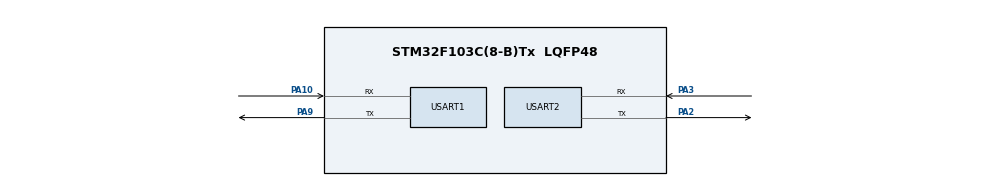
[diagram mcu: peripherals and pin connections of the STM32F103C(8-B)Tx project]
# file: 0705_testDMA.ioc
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Dma.Request0=USART1_RX
Dma.Request1=USART1_TX
Dma.USART1_RX.0.Direction=DMA_PERIPH_TO_MEMORY
Dma.USART1_RX.0.Instance=DMA1_Channel5
Dma.USART1_RX.0.MemDataAlignment=DMA_MDATAALIGN_BYTE
Dma.USART1_RX.0.MemInc=DMA_MINC_ENABLE
Dma.USART1_RX.0.Mode=DMA_NORMAL
Dma.USART1_RX.0.PeriphDataAlignment=DMA_PDATAALIGN_BYTE
Dma.USART1_RX.0.PeriphInc=DMA_PINC_DISABLE
Dma.USART1_RX.0.Priority=DMA_PRIORITY_LOW
Dma.USART1_TX.1.Direction=DMA_MEMORY_TO_PERIPH
Dma.USART1_TX.1.Instance=DMA1_Channel4
Dma.USART1_TX.1.MemDataAlignment=DMA_MDATAALIGN_BYTE
Dma.USART1_TX.1.MemInc=DMA_MINC_ENABLE
Dma.USART1_TX.1.Mode=DMA_NORMAL
Dma.USART1_TX.1.PeriphDataAlignment=DMA_PDATAALIGN_BYTE
Dma.USART1_TX.1.PeriphInc=DMA_PINC_DISABLE
Dma.USART1_TX.1.Priority=DMA_PRIORITY_LOW
Mcu.Family=STM32F1
Mcu.Name=STM32F103C(8-B)Tx
Mcu.Package=LQFP48
NVIC.DMA1_Channel4_IRQn=true\:0\:0\:false\:false\:true\:false\:true\:true
NVIC.DMA1_Channel5_IRQn=true\:0\:0\:false\:false\:true\:false\:true\:true
NVIC.PriorityGroup=NVIC_PRIORITYGROUP_4
NVIC.USART1_IRQn=true\:0\:0\:false\:false\:true\:true\:true\:true
PA10.Mode=Asynchronous
PA10.Signal=USART1_RX
PA13.Mode=Serial_Wire
PA13.Signal=SYS_JTMS-SWDIO
PA14.Mode=Serial_Wire
PA14.Signal=SYS_JTCK-SWCLK
PA2.Mode=Asynchronous
PA2.Signal=USART2_TX
PA3.Mode=Asynchronous
PA3.Signal=USART2_RX
PA9.Mode=Asynchronous
PA9.Signal=USART1_TX
PD0-OSC_IN.Mode=HSE-External-Oscillator
PD0-OSC_IN.Signal=RCC_OSC_IN
PD1-OSC_OUT.Mode=HSE-External-Oscillator
PD1-OSC_OUT.Signal=RCC_OSC_OUT
ProjectManager.HeapSize=0x200
ProjectManager.StackSize=0x400
ProjectManager.TargetToolchain=MDK-ARM V5.32
RCC.APB1Freq_Value=8000000
RCC.APB2Freq_Value=8000000
USART1.VirtualMode=VM_ASYNC
USART2.VirtualMode=VM_ASYNC
board=custom

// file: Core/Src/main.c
/* USER CODE BEGIN Header */
/**
  ******************************************************************************
  * @file           : main.c
  * @brief          : Main program body
  ******************************************************************************
  * @attention
  *
  * Copyright (c) 2025 STMicroelectronics.
  * All rights reserved.
  *
  * This software is licensed under terms that can be found in the LICENSE file
  * in the root directory of this software component.
  * If no LICENSE file comes with this software, it is provided AS-IS.
  *
  ******************************************************************************
  */
/* USER CODE END Header */
#include "main.h"
#include "dma.h"
#include "usart.h"
#include "gpio.h"

/* USER CODE BEGIN Includes */
#include "stdio.h"
/* USER CODE END Includes */

/* USER CODE BEGIN PTD */

#define USE_DMA_RECEIVE  1  // 1=DMA模式，0=中断模式

#if USE_DMA_RECEIVE
    #define RECEIVE_MODE_DMA
#else
    #define RECEIVE_MODE_INTERRUPT
#endif
/* USER CODE END PTD */

/* USER CODE BEGIN PV */
int fputc(int ch,FILE *f)
{
	HAL_UART_Transmit (&huart2 ,(uint8_t *)&ch,1,HAL_MAX_DELAY );
	return ch;
}
/* USER CODE END PV */

void SystemClock_Config(void);

/* USER CODE BEGIN 0 */
#ifdef RECEIVE_MODE_DMA
static uint8_t rxBuffer[4096];  // DMA接收缓冲区
static volatile uint8_t rxFlag = 0;  // 接收完成标志
static uint16_t rxLength = 0;  // 实际接收数据长度

void Start_DMA_Receive(void) {
    HAL_UART_Receive_DMA(&huart1, rxBuffer, sizeof(rxBuffer));
    __HAL_UART_ENABLE_IT(&huart1, UART_IT_IDLE);  // 启用空闲中断[5](@ref)
}

void USART1_IRQHandler(void)
{
  /* USER CODE BEGIN USART1_IRQn 0 */
	 if (__HAL_UART_GET_FLAG(&huart1, UART_FLAG_IDLE) != RESET) {
        __HAL_UART_CLEAR_IDLEFLAG(&huart1);  // 清除空闲中断标志
        HAL_UART_DMAStop(&huart1);  // 停止DMA
        rxLength = sizeof(rxBuffer) - __HAL_DMA_GET_COUNTER(huart1.hdmarx);  // 计算接收长度
       // rxFlag = 1;  // 设置标志位
		    HAL_UART_Transmit_DMA(&huart1, rxBuffer, rxLength);
        HAL_UART_Receive_DMA(&huart1, rxBuffer, sizeof(rxBuffer));  // 重启DMA
    }
  /* USER CODE END USART1_IRQn 0 */
  HAL_UART_IRQHandler(&huart1);
  /* USER CODE BEGIN USART1_IRQn 1 */

  /* USER CODE END USART1_IRQn 1 */
}
#endif

#ifdef RECEIVE_MODE_INTERRUPT
uint8_t rxBuffer[4096];  // 接收缓冲区
volatile uint16_t rxIndex = 0;  // 接收索引
volatile uint8_t rxFlag = 0;    // 接收完成标志

void Start_Interrupt_Receive(void) {
HAL_UART_Receive_IT(&huart1, &rxBuffer[rxIndex], 1);
__HAL_UART_ENABLE_IT(&huart1, UART_IT_IDLE);  // 使能空闲中断
}

// 接收完成回调函数
void HAL_UART_RxCpltCallback(UART_HandleTypeDef *huart) {
   if(huart->Instance == USART1)
    {
        rxIndex++;
        if(rxIndex < 4096)
        {
            HAL_UART_Receive_IT(&huart1, &rxBuffer[rxIndex], 1);
        }
        else
        {
            rxIndex = 0;  // 缓冲区满，从头开始
            HAL_UART_Receive_IT(&huart1, &rxBuffer[rxIndex], 1);
        }
    }
}
void USART1_IRQHandler(void)
{
    /* USER CODE BEGIN USART1_IRQn 0 */
    // 处理空闲中断
    if(__HAL_UART_GET_FLAG(&huart1, UART_FLAG_IDLE) != RESET)
    {
        __HAL_UART_CLEAR_IDLEFLAG(&huart1);  // 清除空闲中断标志
        rxFlag = 1;  // 设置接收完成标志
    }
    /* USER CODE END USART1_IRQn 0 */

    HAL_UART_IRQHandler(&huart1);

    /* USER CODE BEGIN USART1_IRQn 1 */
    /* USER CODE END USART1_IRQn 1 */
}
#endif
/* USER CODE END 0 */

int main(void)
{

  /* MCU Configuration--------------------------------------------------------*/

  /* Reset of all peripherals, Initializes the Flash interface and the Systick. */
  HAL_Init();

  /* Configure the system clock */
  SystemClock_Config();

  /* Initialize all configured peripherals */
  MX_GPIO_Init();
  MX_DMA_Init();
  MX_USART1_UART_Init();
  MX_USART2_UART_Init();
  /* USER CODE BEGIN 2 */
	#ifdef RECEIVE_MODE_DMA
	Start_DMA_Receive();
	#else
	Start_Interrupt_Receive();
	#endif
	static uint32_t count;
  /* USER CODE END 2 */

  /* Infinite loop */
  /* USER CODE BEGIN WHILE */
  while (1)
  {
		#ifdef RECEIVE_MODE_DMA
		if (rxFlag) {
    rxFlag = 0;
   // HAL_UART_Transmit(&huart1, rxBuffer, rxLength, HAL_MAX_DELAY);  // 通过串口打印接收数据
		}
	  #endif

		#ifdef RECEIVE_MODE_INTERRUPT
		 if(rxFlag)
			{
						rxFlag = 0;
						// 发送接收到的数据
						HAL_UART_Transmit(&huart1, rxBuffer, rxIndex, HAL_MAX_DELAY);
						rxIndex = 0;  // 重置索引
						HAL_UART_Receive_IT(&huart1, &rxBuffer[rxIndex], 1);  // 重新开始接收
			}
		#endif
		printf("count:%d",++count);
		HAL_Delay(50);
    /* USER CODE END WHILE */

  }
}

void SystemClock_Config(void)
{
  RCC_OscInitTypeDef RCC_OscInitStruct = {0};
  RCC_ClkInitTypeDef RCC_ClkInitStruct = {0};

  /** Initializes the RCC Oscillators according to the specified parameters
  * in the RCC_OscInitTypeDef structure.
  */
  RCC_OscInitStruct.OscillatorType = RCC_OSCILLATORTYPE_HSI;
  RCC_OscInitStruct.HSIState = RCC_HSI_ON;
  RCC_OscInitStruct.HSICalibrationValue = RCC_HSICALIBRATION_DEFAULT;
  RCC_OscInitStruct.PLL.PLLState = RCC_PLL_NONE;
  if (HAL_RCC_OscConfig(&RCC_OscInitStruct) != HAL_OK)
  {
    Error_Handler();
  }

  /** Initializes the CPU, AHB and APB buses clocks
  */
  RCC_ClkInitStruct.ClockType = RCC_CLOCKTYPE_HCLK|RCC_CLOCKTYPE_SYSCLK
                              |RCC_CLOCKTYPE_PCLK1|RCC_CLOCKTYPE_PCLK2;
  RCC_ClkInitStruct.SYSCLKSource = RCC_SYSCLKSOURCE_HSI;
  RCC_ClkInitStruct.AHBCLKDivider = RCC_SYSCLK_DIV1;
  RCC_ClkInitStruct.APB1CLKDivider = RCC_HCLK_DIV1;
  RCC_ClkInitStruct.APB2CLKDivider = RCC_HCLK_DIV1;

  if (HAL_RCC_ClockConfig(&RCC_ClkInitStruct, FLASH_LATENCY_0) != HAL_OK)
  {
    Error_Handler();
  }
}

void Error_Handler(void)
{
  __disable_irq();
  while (1)
  {
  }
}
